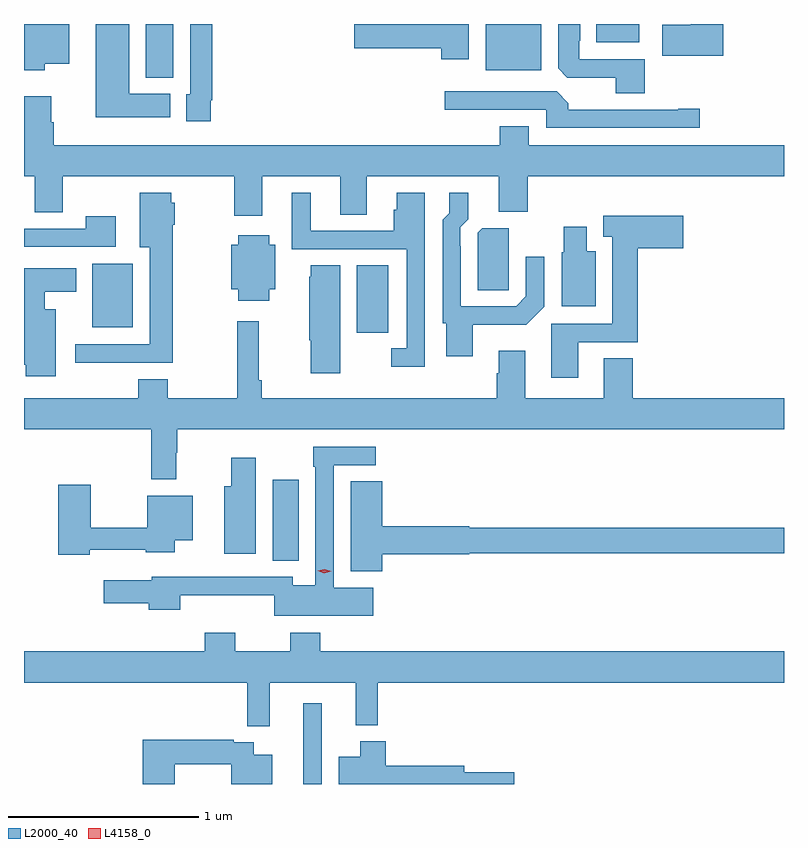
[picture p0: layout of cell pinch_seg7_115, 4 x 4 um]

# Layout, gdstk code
import gdstk
lib = gdstk.Library(unit=1e-6, precision=1e-09)
def R(c, l, rs):  # rectangles x0, y0, x1, y1
    for r in rs: c.add(gdstk.rectangle(r[:2], r[2:], *l))
def P(c, l, *ps):  # polygons
    for p in ps: c.add(gdstk.Polygon(p, *l))
L2000_40 = (2000, 40)
L4158_0 = (4158, 0)

pinch_seg7_115 = lib.new_cell('pinch_seg7_115')
R(pinch_seg7_115, L2000_40, [(889.01,1034.714,889.107,1035.139), (888.848,1035.889,888.985,1036.315), (889.292,1037.088,889.456,1037.444), (887.9,1037.117,888.112,1037.452), (888.182,1038.431,888.325,1038.714), (889.97,1038.47,890.263,1038.714), (890.552,1038.617,890.779,1038.714)])
P(pinch_seg7_115, L2000_40, [(888.523,1038.313),(888.53,1038.313),(888.53,1038.714),(888.414,1038.714),(888.414,1038.345),(888.395,1038.345),(888.395,1038.201),(888.523,1038.201)],
  [(888.31,1038.346),(888.094,1038.346),(888.094,1038.714),(887.918,1038.714),(887.918,1038.224),(888.31,1038.224)],
  [(887.65,1038.506),(887.779,1038.506),(887.779,1038.714),(887.54,1038.714),(887.54,1038.47),(887.65,1038.47)],
  [(890.807,1038.528),(890.463,1038.528),(890.463,1038.625),(890.467,1038.625),(890.467,1038.714),(890.351,1038.714),(890.351,1038.481),(890.4,1038.432),(890.654,1038.432),(890.654,1038.349),(890.807,1038.349)],
  [(891.22,1038.714),(891.05,1038.714),(891.05,1038.711),(890.898,1038.711),(890.898,1038.548),(891.22,1038.548)],
  [(889.882,1038.714),(889.278,1038.714),(889.278,1038.587),(889.736,1038.587),(889.736,1038.528),(889.882,1038.528)],
  [(891.097,1038.269),(890.984,1038.269),(890.984,1038.264),(890.405,1038.264),(890.405,1038.298),(890.343,1038.36),(889.755,1038.36),(889.755,1038.264),(890.289,1038.264),(890.289,1038.168),(891.097,1038.168)],
  [(888.793,1037.912),(889.205,1037.912),(889.205,1037.71),(889.345,1037.71),(889.345,1037.912),(890.039,1037.912),(890.039,1037.725),(890.192,1037.725),(890.192,1037.912),(891.54,1037.912),(891.54,1038.076),(890.197,1038.076),(890.197,1038.175),(890.045,1038.175),(890.045,1038.076),(887.696,1038.076),(887.696,1038.197),(887.683,1038.197),(887.683,1038.334),(887.54,1038.334),(887.54,1037.912),(887.597,1037.912),(887.597,1037.722),(887.745,1037.722),(887.745,1037.912),(888.646,1037.912),(888.646,1037.706),(888.793,1037.706)],
  [(889.65,1037.827),(889.502,1037.827),(889.502,1037.736),(889.487,1037.736),(889.487,1037.625),(889.048,1037.625),(889.048,1037.827),(888.95,1037.827),(888.95,1037.529),(889.554,1037.529),(889.554,1037.007),(889.473,1037.007),(889.473,1036.91),(889.65,1036.91)],
  [(889.903,1037.132),(890.183,1037.132),(890.277,1037.226),(890.277,1037.488),(890.181,1037.488),(890.181,1037.28),(890.13,1037.229),(889.839,1037.229),(889.839,1037.543),(889.836,1037.543),(889.836,1037.643),(889.879,1037.686),(889.879,1037.827),(889.779,1037.827),(889.779,1037.719),(889.743,1037.683),(889.743,1037.139),(889.763,1037.139),(889.763,1036.965),(889.903,1036.965)],
  [(888.324,1037.658),(888.334,1037.658),(888.334,1037.772),(888.316,1037.772),(888.316,1037.827),(888.149,1037.827),(888.149,1037.54),(888.203,1037.54),(888.203,1037.028),(887.811,1037.028),(887.811,1036.93),(888.324,1036.93)],
  [(890.458,1037.04),(890.771,1037.04),(890.771,1037.534),(891.01,1037.534),(891.01,1037.705),(890.588,1037.705),(890.588,1037.595),(890.636,1037.595),(890.636,1037.136),(890.315,1037.136),(890.315,1036.851),(890.458,1036.851)],
  [(888.022,1037.701),(887.866,1037.701),(887.866,1037.637),(887.54,1037.637),(887.54,1037.541),(888.022,1037.541)],
  [(890.548,1037.518),(890.503,1037.518),(890.503,1037.647),(890.381,1037.647),(890.381,1037.514),(890.369,1037.514),(890.369,1037.228),(890.548,1037.228)],
  [(890.091,1037.425),(890.092,1037.425),(890.092,1037.64),(889.953,1037.64),(889.929,1037.616),(889.929,1037.314),(890.091,1037.314)],
  [(888.832,1037.318),(888.862,1037.318),(888.862,1037.551),(888.832,1037.551),(888.832,1037.602),(888.667,1037.602),(888.667,1037.551),(888.632,1037.551),(888.632,1037.318),(888.667,1037.318),(888.667,1037.258),(888.832,1037.258)],
  [(889.204,1037.444),(889.049,1037.444),(889.049,1037.385),(889.04,1037.385),(889.04,1037.049),(889.049,1037.049),(889.049,1036.875),(889.204,1036.875)],
  [(887.707,1037.212),(887.65,1037.212),(887.65,1037.306),(887.815,1037.306),(887.815,1037.428),(887.54,1037.428),(887.54,1036.92),(887.549,1036.92),(887.549,1036.86),(887.707,1036.86)],
  [(888.34,1036.457),(888.347,1036.457),(888.347,1036.58),(891.54,1036.58),(891.54,1036.744),(890.744,1036.744),(890.744,1036.955),(890.591,1036.955),(890.591,1036.744),(890.179,1036.744),(890.179,1036.993),(890.039,1036.993),(890.039,1036.877),(890.027,1036.877),(890.027,1036.744),(888.791,1036.744),(888.791,1036.84),(888.776,1036.84),(888.776,1037.149),(888.663,1037.149),(888.663,1036.744),(888.297,1036.744),(888.297,1036.843),(888.142,1036.843),(888.142,1036.744),(887.54,1036.744),(887.54,1036.58),(888.211,1036.58),(888.211,1036.317),(888.34,1036.317)],
  [(889.378,1035.748),(889.17,1035.748),(889.17,1036.392),(889.39,1036.392),(889.39,1036.488),(889.062,1036.488),(889.062,1036.385),(889.074,1036.385),(889.074,1035.76),(888.954,1035.76),(888.954,1035.804),(888.445,1035.804),(888.445,1035.805),(888.213,1035.805),(888.213,1035.787),(887.961,1035.787),(887.961,1035.665),(888.197,1035.665),(888.197,1035.632),(888.362,1035.632),(888.362,1035.707),(888.858,1035.707),(888.858,1035.599),(889.378,1035.599)],
  [(888.76,1036.432),(888.631,1036.432),(888.631,1036.282),(888.593,1036.282),(888.593,1035.926),(888.76,1035.926)],
  [(889.426,1035.923),(889.884,1035.923),(889.884,1035.928),(891.54,1035.928),(891.54,1036.064),(889.884,1036.064),(889.884,1036.07),(889.426,1036.07),(889.426,1036.307),(889.259,1036.307),(889.259,1035.833),(889.426,1035.833)],
  [(887.886,1035.947),(888.18,1035.947),(888.18,1035.935),(888.334,1035.935),(888.334,1035.998),(888.427,1035.998),(888.427,1036.231),(888.188,1036.231),(888.188,1036.064),(887.89,1036.064),(887.89,1036.288),(887.72,1036.288),(887.72,1035.92),(887.886,1035.92)],
  [(888.491,1035.511),(888.491,1035.412),(887.54,1035.412),(887.54,1035.248),(888.715,1035.248),(888.715,1035.019),(888.833,1035.019),(888.833,1035.248),(889.286,1035.248),(889.286,1035.023),(889.403,1035.023),(889.403,1035.248),(891.54,1035.248),(891.54,1035.412),(889.1,1035.412),(889.1,1035.511),(888.94,1035.511),(888.94,1035.412),(888.651,1035.412),(888.651,1035.511)],
  [(888.334,1034.818),(888.632,1034.818),(888.632,1034.714),(888.847,1034.714),(888.847,1034.869),(888.748,1034.869),(888.748,1034.934),(888.644,1034.934),(888.644,1034.947),(888.164,1034.947),(888.164,1034.714),(888.334,1034.714)],
  [(890.119,1034.775),(889.858,1034.775),(889.858,1034.809),(889.445,1034.809),(889.445,1034.938),(889.31,1034.938),(889.31,1034.857),(889.196,1034.857),(889.196,1034.714),(890.119,1034.714)])
P(pinch_seg7_115, L4158_0, [(889.121,1035.824),(889.087,1035.836),(889.087,1035.836),(889.087,1035.836),(889.122,1035.844),(889.156,1035.833),(889.156,1035.833),(889.156,1035.833)])

lib.write_gds('pinch_seg7_115.gds')
